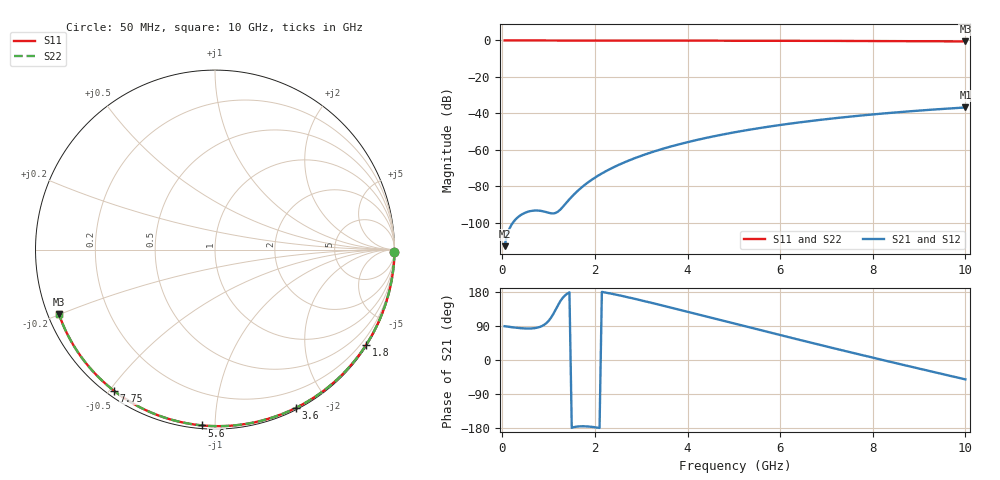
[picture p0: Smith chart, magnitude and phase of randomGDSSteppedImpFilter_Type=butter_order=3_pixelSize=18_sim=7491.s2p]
! freq	dB(S11)	phase(S11)	dB(S12)	phase(S12)
!  dB(S21)	phase(S21)	dB(S22)	phase(S22)
!S-par simulation data
#  GHz  S  DB  R 50
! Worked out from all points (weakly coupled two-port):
!   200 points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, 50 MHz to 10 GHz, reference 50 ohm
!   highest |S21| = -36.73 dB at 10 GHz (marker M1); lowest = -112.8 dB at 50 MHz (marker M2)
!   lowest |S11| = -0.5 dB at 10 GHz (marker M3), VSWR 32.92, Z = 1.58 - j9.9 ohm
!   |S11| at or under -10 dB: nowhere
!   |S22| runs from -0.5 to 0.0 dB; largest |S21 - S12| = 0
!   S11 on the Smith chart (normalised r, x): 50 MHz: open; 1.8 GHz: 0.03, -3.45; 3.6 GHz: 0.02, -1.63; 5.6 GHz: 0.02, -0.93; 7.75 GHz: 0.02, -0.51; 10 GHz: 0.03, -0.20
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0.05  -0.00 -0.9  -112.75 89.1  -112.75 89.1  -0.00 -0.9
0.45  -0.01 -8.2  -94.95 83.5  -94.95 83.5  -0.01 -8.2
0.9  -0.02 -16.3  -93.76 92.5  -93.76 92.5  -0.02 -16.3
1.7  -0.04 -30.6  -80.82 -174.9  -80.82 -174.9  -0.04 -30.5
1.75  -0.04 -31.4  -79.77 -174.9  -79.77 -174.9  -0.04 -31.4
1.8  -0.04 -32.3  -78.77 -175.1  -78.77 -175.1  -0.04 -32.3
1.95  -0.04 -34.9  -76.04 -176.6  -76.04 -176.6  -0.04 -34.9
2.1  -0.05 -37.5  -73.63 -179.2  -73.63 -179.2  -0.05 -37.5
2.3  -0.05 -41.0  -70.82 176.4  -70.82 176.4  -0.05 -41.0
2.5  -0.06 -44.5  -68.34 171.4  -68.34 171.4  -0.06 -44.4
2.9  -0.07 -51.3  -64.14 160.3  -64.14 160.3  -0.07 -51.2
3.4  -0.08 -59.6  -59.88 145.5  -59.88 145.5  -0.08 -59.6
3.6  -0.08 -62.9  -58.40 139.5  -58.40 139.5  -0.08 -62.9
4.3  -0.11 -74.2  -53.97 118.0  -53.97 118.0  -0.11 -74.2
5.05  -0.13 -85.9  -50.17 94.9  -50.17 94.9  -0.13 -85.9
5.6  -0.16 -94.3  -47.84 78.0  -47.84 78.0  -0.16 -94.3
6.15  -0.18 -102.5  -45.80 61.2  -45.80 61.2  -0.18 -102.5
6.7  -0.22 -110.5  -44.01 44.7  -44.01 44.7  -0.22 -110.5
7.75  -0.29 -125.6  -41.14 13.5  -41.14 13.5  -0.29 -125.5
8.35  -0.34 -134.1  -39.76 -4.0  -39.76 -4.0  -0.34 -134.0
9.2  -0.43 -146.1  -38.07 -28.4  -38.07 -28.4  -0.43 -146.1
10  -0.53 -157.6  -36.73 -51.1  -36.73 -51.1  -0.53 -157.5
